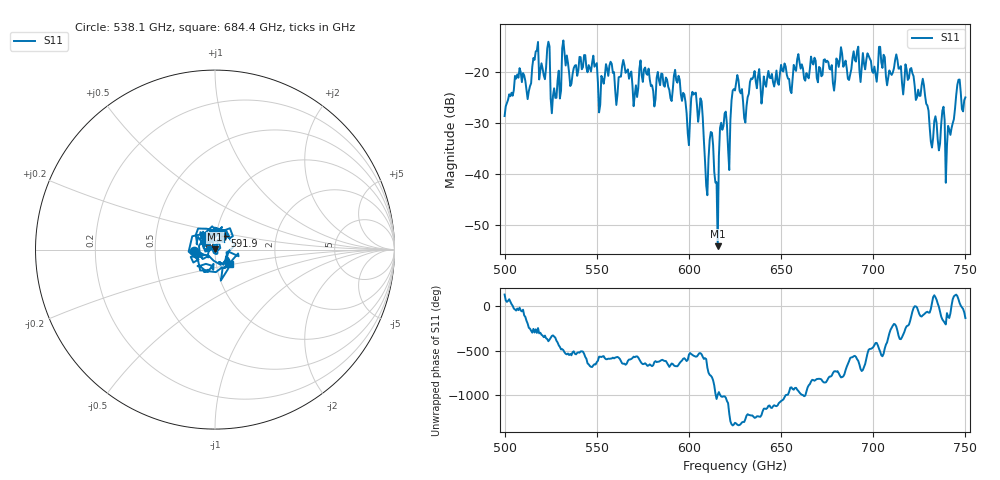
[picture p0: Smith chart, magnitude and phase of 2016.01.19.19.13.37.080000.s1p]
!Created with skrf (http://scikit-rf.org).
# GHz S RI R 50.0
!freq ReS11 ImS11
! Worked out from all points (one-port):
!   401 points, 500 GHz to 750 GHz, reference 50 ohm
!   lowest |S11| = -54.1 dB at 615.6 GHz (marker M1), VSWR 1.00, Z = 50 + j0.197 ohm
!   |S11| at or under -10 dB: start of sweep to end of sweep
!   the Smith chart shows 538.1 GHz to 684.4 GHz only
!   S11 on the Smith chart (normalised r, x): 538.1 GHz: 0.79, -0.01; 591.9 GHz: 1.10, +0.17; 684.4 GHz: 1.17, -0.20
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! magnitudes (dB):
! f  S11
! 500 GHz  -28.6
! 513.1 GHz  -23.7
! 516.9 GHz  -15.9
! 523.1 GHz  -15.4
! 526.2 GHz  -24.6
! 531.2 GHz  -15.3
! 538.1 GHz  -18.7
! 562.5 GHz  -20.9
! 591.9 GHz  -20.6
! 593.8 GHz  -22.1
! 599.4 GHz  -32.0
! 603.1 GHz  -24.2
! 606.9 GHz  -25.7
! 609.4 GHz  -42.2
! 611.9 GHz  -31.7
! 615.6 GHz  -54.1
! 618.1 GHz  -31.3
! 621.9 GHz  -39.2
! 625 GHz  -23.6
! 630.6 GHz  -29.9
! 634.4 GHz  -21.4
! 656.2 GHz  -21.4
! 684.4 GHz  -18.5
! 687.5 GHz  -20.4
! 718.8 GHz  -21.5
! 740.6 GHz  -30.5
! 746.2 GHz  -21.5
! 750 GHz  -24.9
